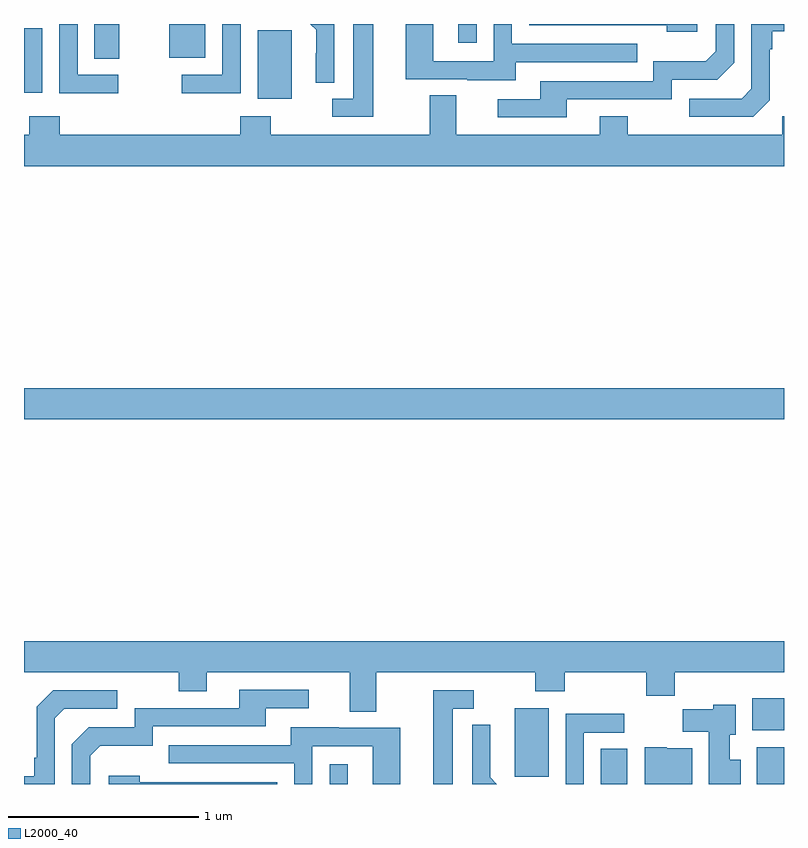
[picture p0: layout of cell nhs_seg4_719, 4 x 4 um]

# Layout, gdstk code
import gdstk
lib = gdstk.Library(unit=1e-6, precision=1e-09)
def R(c, l, rs):  # rectangles x0, y0, x1, y1
    for r in rs: c.add(gdstk.rectangle(r[:2], r[2:], *l))
def P(c, l, *ps):  # polygons
    for p in ps: c.add(gdstk.Polygon(p, *l))
L2000_40 = (2000, 40)

nhs_seg4_719 = lib.new_cell('nhs_seg4_719')
R(nhs_seg4_719, L2000_40, [(148.608,794.9,148.705,795.004), (150.035,794.9,150.175,795.086), (150.857,794.9,151,795.094), (149.582,794.937,149.761,795.298), (150.833,795.182,151,795.352), (147,796.82,151,796.984), (148.229,798.506,148.408,798.867), (147,798.537,147.097,798.877), (147.371,798.718,147.502,798.9), (147.764,798.722,147.955,798.9), (149.285,798.801,149.382,798.9)])
P(nhs_seg4_719, L2000_40, [(150.924,798.498),(150.924,798.767),(150.937,798.767),(150.937,798.863),(151,798.863),(151,798.9),(150.828,798.9),(150.828,798.558),(150.777,798.507),(150.501,798.507),(150.501,798.411),(150.837,798.411)],
  [(148.837,798.9),(148.733,798.9),(148.733,798.507),(148.623,798.507),(148.623,798.411),(148.837,798.411)],
  [(147.496,798.633),(147.282,798.633),(147.282,798.9),(147.186,798.9),(147.186,798.535),(147.496,798.535)],
  [(149.857,798.504),(150.408,798.504),(150.408,798.606),(150.648,798.606),(150.738,798.696),(150.738,798.9),(150.642,798.9),(150.642,798.756),(150.589,798.703),(150.312,798.703),(150.312,798.6),(149.717,798.6),(149.717,798.504),(149.493,798.504),(149.493,798.408),(149.857,798.408)],
  [(149.587,798.699),(150.227,798.699),(150.227,798.795),(149.568,798.795),(149.568,798.9),(149.472,798.9),(149.472,798.705),(149.154,798.705),(149.154,798.9),(149.009,798.9),(149.009,798.609),(149.333,798.609),(149.333,798.605),(149.587,798.605)],
  [(148.14,798.9),(148.044,798.9),(148.044,798.633),(147.831,798.633),(147.831,798.535),(148.14,798.535)],
  [(148.632,798.9),(148.507,798.9),(148.538,798.869),(148.538,798.746),(148.536,798.746),(148.536,798.592),(148.632,798.592)],
  [(150.544,798.9),(149.658,798.9),(149.658,798.894),(150.383,798.894),(150.383,798.86),(150.544,798.86)],
  [(151,798.415),(150.99,798.415),(150.99,798.316),(150.177,798.316),(150.177,798.415),(150.029,798.415),(150.029,798.316),(149.275,798.316),(149.275,798.524),(149.135,798.524),(149.135,798.316),(148.299,798.316),(148.299,798.415),(148.139,798.415),(148.139,798.316),(147.188,798.316),(147.188,798.415),(147.028,798.415),(147.028,798.316),(147,798.316),(147,798.152),(151,798.152)],
  [(148.855,795.488),(149.692,795.488),(149.692,795.389),(149.847,795.389),(149.847,795.488),(150.274,795.488),(150.274,795.364),(150.425,795.364),(150.425,795.488),(151,795.488),(151,795.652),(147,795.652),(147,795.488),(147.814,795.488),(147.814,795.389),(147.961,795.389),(147.961,795.488),(148.715,795.488),(148.715,795.28),(148.855,795.28)],
  [(147.348,795.048),(147.401,795.101),(147.678,795.101),(147.678,795.204),(148.273,795.204),(148.273,795.3),(148.498,795.3),(148.498,795.396),(148.133,795.396),(148.133,795.3),(147.582,795.3),(147.582,795.198),(147.342,795.198),(147.252,795.108),(147.252,794.9),(147.348,794.9)],
  [(149.257,795.297),(149.368,795.297),(149.368,795.393),(149.153,795.393),(149.153,794.9),(149.257,794.9)],
  [(147.162,795.246),(147.213,795.297),(147.49,795.297),(147.49,795.393),(147.153,795.393),(147.066,795.306),(147.066,795.037),(147.054,795.037),(147.054,794.941),(147,794.941),(147,794.9),(147.162,794.9)],
  [(150.772,795.028),(150.715,795.028),(150.715,795.158),(150.745,795.158),(150.745,795.316),(150.627,795.316),(150.627,795.294),(150.466,795.294),(150.466,795.176),(150.605,795.176),(150.605,794.9),(150.772,794.9)],
  [(149.946,795.171),(150.16,795.171),(150.16,795.27),(149.85,795.27),(149.85,794.9),(149.946,794.9)],
  [(149.453,794.936),(149.453,795.058),(149.454,795.058),(149.454,795.212),(149.358,795.212),(149.358,794.9),(149.488,794.9)],
  [(148.518,795.099),(148.836,795.099),(148.836,794.9),(148.981,794.9),(148.981,795.195),(148.657,795.195),(148.657,795.199),(148.403,795.199),(148.403,795.105),(147.763,795.105),(147.763,795.009),(148.422,795.009),(148.422,794.9),(148.518,794.9)],
  [(150.517,795.088),(150.384,795.088),(150.384,795.094),(150.266,795.094),(150.266,794.9),(150.517,794.9)],
  [(148.332,794.91),(147.608,794.91),(147.608,794.944),(147.447,794.944),(147.447,794.9),(148.332,794.9)])

lib.write_gds('nhs_seg4_719.gds')
